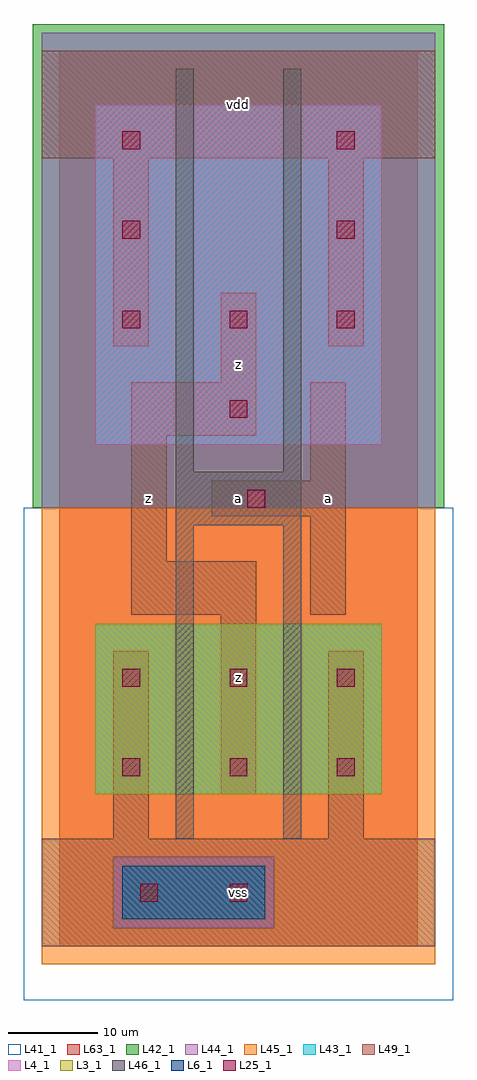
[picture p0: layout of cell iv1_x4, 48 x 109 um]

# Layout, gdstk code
import gdstk
lib = gdstk.Library(unit=1e-6, precision=1e-09)
def R(c, l, rs):  # rectangles x0, y0, x1, y1
    for r in rs: c.add(gdstk.rectangle(r[:2], r[2:], *l))
def A(c, l, x, y, w, h, nx, ny, dx, dy):  # array of equal rectangles
    R(c, l, [(x+i*dx, y+j*dy, x+i*dx+w, y+j*dy+h) for i in range(nx) for j in range(ny)])
L3_1 = (3, 1)
L4_1 = (4, 1)
L6_1 = (6, 1)
L25_1 = (25, 1)
L41_1 = (41, 1)
L42_1 = (42, 1)
L43_1 = (43, 1)
L44_1 = (44, 1)
L45_1 = (45, 1)
L46_1 = (46, 1)
L49_1 = (49, 1)
L63_1 = (63, 1)

iv1_x4 = lib.new_cell('iv1_x4')
R(iv1_x4, L3_1, [(4,17,36,36)])
R(iv1_x4, L4_1, [(4,56,36,94)])
R(iv1_x4, L6_1, [(7,3,23,9)])
A(iv1_x4, L25_1, 7, 19, 2, 2, 3, 2, 12, 10)
A(iv1_x4, L25_1, 7, 69, 2, 2, 3, 1, 12, 0)
R(iv1_x4, L25_1, [(9,5,11,7), (19,5,21,7), (21,49,23,51), (19,59,21,61), (7,79,9,81), (31,79,33,81), (7,89,9,91), (31,89,33,91)])
R(iv1_x4, L41_1, [(-4,-6,44,49), (-3,-3,43,49)])
R(iv1_x4, L42_1, [(-3,49,43,103)])
R(iv1_x4, L43_1, [(7,3,23,9), (4,17,36,36), (4,56,36,94)])
R(iv1_x4, L44_1, [(6,2,24,10), (-2,49,42,102)])
R(iv1_x4, L45_1, [(-2,-2,42,2), (-2,2,6,10), (24,2,42,10), (-2,10,42,49)])
R(iv1_x4, L46_1, [(13,12,15,47), (25,12,27,47), (13,47,27,53), (13,53,15,98), (25,53,27,98)])
R(iv1_x4, L49_1, [(-2,0,42,12), (6,12,10,33), (30,12,34,33), (18,17,22,37), (8,37,22,43), (28,37,32,48), (8,43,12,57), (17,48,32,52), (28,52,32,63), (8,57,22,63), (18,63,22,73), (6,67,10,88), (30,67,34,88), (-2,88,42,100)])
R(iv1_x4, L63_1, [(0,0,40,100)])
iv1_x4.add(gdstk.Label('z', (10,50), layer=49, texttype=1))
iv1_x4.add(gdstk.Label('z', (10,50), layer=49, texttype=1))
iv1_x4.add(gdstk.Label('vss', (20,6), layer=49, texttype=1))
iv1_x4.add(gdstk.Label('vss', (20,6), layer=49, texttype=1))
iv1_x4.add(gdstk.Label('z', (20,30), layer=49, texttype=1))
iv1_x4.add(gdstk.Label('z', (20,30), layer=49, texttype=1))
iv1_x4.add(gdstk.Label('a', (20,50), layer=49, texttype=1))
iv1_x4.add(gdstk.Label('a', (20,50), layer=49, texttype=1))
iv1_x4.add(gdstk.Label('z', (20,65), layer=49, texttype=1))
iv1_x4.add(gdstk.Label('z', (20,65), layer=49, texttype=1))
iv1_x4.add(gdstk.Label('vdd', (20,94), layer=49, texttype=1))
iv1_x4.add(gdstk.Label('vdd', (20,94), layer=49, texttype=1))
iv1_x4.add(gdstk.Label('a', (30,50), layer=49, texttype=1))
iv1_x4.add(gdstk.Label('a', (30,50), layer=49, texttype=1))

lib.write_gds('iv1_x4.gds')
